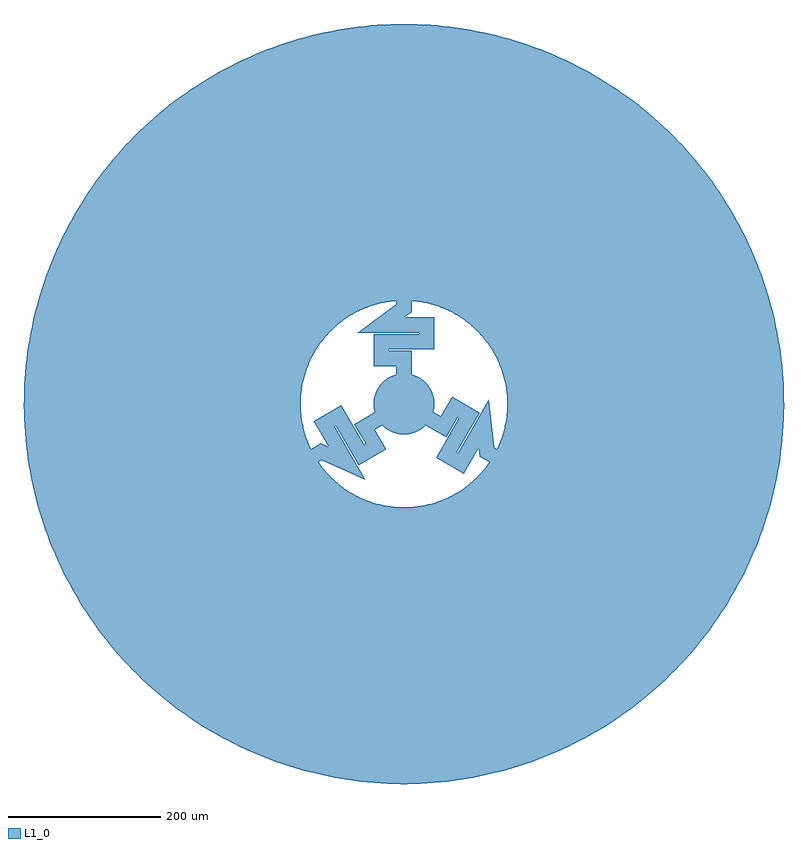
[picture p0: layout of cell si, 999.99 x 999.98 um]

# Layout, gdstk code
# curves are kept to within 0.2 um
import gdstk
lib = gdstk.Library(unit=1e-6, precision=1e-09)
def P(c, l, *ps):  # polygons
    for p in ps: c.add(gdstk.Polygon(p, *l))
L1_0 = (1, 0)

c_si = lib.new_cell('si')
P(c_si, L1_0, [(-0.35,-39.998),(-7.997,-39.193),(-12.061,-38.138),(-15.992,-36.664),(-22.712,-32.927),(-28.592,-27.973),(-33.416,-21.986),(-37.005,-15.186),(-39.227,-7.825),(-39.831,-3.67),(-39.997,0.525),(-39.157,8.168),(-38.085,12.227),(-36.594,16.152),(-32.827,22.855),(-27.848,28.714),(-24.685,31.475),(-21.25,33.889),(-14.373,37.329),(-6.965,39.389),(0.7,39.994),(4.888,39.7),(9.023,38.969),(16.312,36.523),(22.999,32.727),(28.836,27.722),(33.607,21.693),(37.137,14.862),(39.294,7.481),(40,-0.175),(39.227,-7.825),(38.191,-11.894),(36.734,-15.831),(33.026,-22.567),(28.098,-28.469),(22.132,-33.319),(15.348,-36.938),(7.997,-39.193),(3.844,-39.815)],
  [(-4.375,-499.981),(-30.609,-499.062),(-56.759,-496.768),(-82.752,-493.105),(-99.958,-489.907),(-125.531,-483.985),(-150.759,-476.73),(-175.57,-468.161),(-199.898,-458.302),(-215.815,-451.025),(-239.188,-439.078),(-261.902,-425.92),(-283.894,-411.588),(-305.103,-396.121),(-325.472,-379.563),(-344.944,-361.959),(-357.4,-349.665),(-375.258,-330.426),(-392.082,-310.277),(-407.826,-289.272),(-417.699,-274.822),(-431.547,-252.522),(-440.12,-237.265),(-451.965,-213.839),(-462.565,-189.825),(-471.89,-165.287),(-479.914,-140.294),(-486.616,-114.914),(-491.976,-89.217),(-494.797,-71.945),(-497.891,-45.878),(-499.612,-19.685),(-499.957,6.563),(-499.421,24.056),(-498.273,41.519),(-495.408,67.612),(-492.738,84.908),(-489.464,102.1),(-485.591,119.168),(-481.148,136),(0,136),(-7.137,135.813),(-16.62,134.981),(-23.681,133.922),(-32.991,131.938),(-39.87,130.025),(-48.868,126.917),(-55.461,124.178),(-64.012,119.994),(-70.221,116.469),(-78.196,111.272),(-83.928,107.015),(-91.208,100.882),(-96.377,95.956),(-102.853,88.979),(-107.381,83.459),(-112.956,75.743),(-116.775,69.711),(-121.365,61.371),(-124.419,54.917),(-127.956,46.08),(-130.866,37.016),(-132.628,30.097),(-134.025,23.095),(-135.312,13.663),(-135.843,6.543),(-135.967,-2.975),(-135.624,-10.107),(-134.585,-19.569),(-133.372,-26.605),(-131.185,-35.87),(-128.354,-44.958),(-125.818,-51.632),(-122.935,-58.164),(-118.565,-66.621),(-114.905,-72.752),(-109.535,-80.611),(-105.153,-86.249),(-98.862,-93.393),(-93.825,-98.453),(-86.708,-104.775),(-81.09,-109.181),(-73.254,-114.586),(-65.059,-119.429),(-58.702,-122.679),(-49.976,-126.485),(-43.269,-128.933),(-34.144,-131.644),(-27.189,-133.255),(-20.158,-134.498),(-10.7,-135.578),(-1.19,-135.995),(5.949,-135.87),(15.438,-135.121),(22.508,-134.124),(29.516,-132.758),(38.731,-130.368),(47.755,-127.34),(54.372,-124.658),(60.84,-121.633),(69.199,-117.079),(77.219,-111.952),(82.988,-107.745),(90.322,-101.676),(95.533,-96.796),(102.07,-89.876),(106.646,-84.395),(112.289,-76.729),(116.161,-70.73),(119.713,-64.536),(123.934,-56.004),(127.548,-47.198),(129.849,-40.439),(131.792,-33.568),(133.817,-24.267),(134.907,-17.211),(135.78,-7.732),(135.999,-0.595),(135.707,8.92),(134.751,18.39),(133.6,25.437),(131.493,34.72),(128.743,43.833),(126.265,50.529),(122.421,59.238),(119.143,65.581),(114.264,73.755),(110.236,79.65),(104.394,87.166),(98.041,94.255),(92.96,99.27),(87.622,104.012),(80.131,109.886),(74.254,113.94),(66.102,118.855),(59.773,122.161),(51.081,126.042),(39.87,130.025),(28.354,133.012),(16.62,134.981),(2.38,135.979),(-481.148,136),(-476.066,152.843),(-470.426,169.41),(-464.209,185.77),(-453.819,209.876),(-446.196,225.63),(-438.027,241.107),(-429.321,256.289),(-415.278,278.467),(-405.279,292.83),(-389.352,313.696),(-378.135,327.13),(-360.446,346.524),(-348.098,358.926),(-328.781,376.7),(-315.396,387.976),(-301.625,398.776),(-287.485,409.087),(-272.992,418.898),(-250.631,432.648),(-235.337,441.154),(-211.86,452.897),(-195.88,460.034),(-179.66,466.607),(-163.221,472.609),(-146.581,478.031),(-129.762,482.868),(-112.783,487.114),(-87.063,492.362),(-69.779,495.107),(-43.699,498.087),(-17.498,499.694),(0,500),(17.498,499.694),(43.699,498.087),(69.779,495.107),(95.667,490.763),(121.291,485.065),(146.581,478.031),(171.467,469.68),(195.88,460.034),(211.86,452.897),(235.337,441.154),(258.165,428.195),(280.281,414.056),(294.6,403.994),(315.396,387.976),(335.323,370.888),(354.326,352.779),(372.352,333.697),(389.352,313.696),(405.279,292.83),(415.278,278.467),(429.321,256.289),(442.179,233.404),(453.819,209.876),(464.209,185.77),(473.318,161.151),(481.124,136.089),(487.603,110.651),(491.176,93.519),(495.408,67.612),(498.273,41.519),(499.421,24.056),(499.995,-2.188),(499.191,-28.425),(497.012,-54.584),(494.797,-71.945),(490.339,-97.813),(486.616,-114.914),(479.914,-140.294),(471.89,-165.287),(462.565,-189.825),(451.965,-213.839),(440.12,-237.265),(427.061,-260.036),(412.826,-282.09),(402.701,-296.365),(386.592,-317.091),(369.418,-336.943),(351.225,-355.866),(332.065,-373.809),(311.989,-390.721),(291.054,-406.556),(269.316,-421.271),(254.408,-430.438),(231.467,-443.196),(207.888,-454.733),(183.737,-465.017),(159.079,-474.019),(142.392,-479.296),(117.042,-486.108),(91.369,-491.581),(65.444,-495.699),(39.339,-498.45),(13.125,-499.828)])
c_si.add(gdstk.FlexPath([(0,0),(0,60),(-30,60),(-30,82),(30,82),(30,104),(-30,104),(-30,104),(0,126),(0,136)], 20, ends="flush", simple_path=True, layer=1, datatype=0))  # L1_0
c_si.add(gdstk.FlexPath([(0,0),(-51.962,-30),(-36.962,-55.981),(-56.014,-66.981),(-86.014,-15.019),(-105.067,-26.019),(-75.067,-77.981),(-75.067,-77.981),(-109.119,-63),(-117.779,-68)], 20, ends="flush", simple_path=True, layer=1, datatype=0))  # L1_0
c_si.add(gdstk.FlexPath([(0,0),(51.962,-30),(66.962,-4.019),(86.014,-15.019),(56.014,-66.981),(75.067,-77.981),(105.067,-26.019),(105.067,-26.019),(109.119,-63),(117.779,-68)], 20, ends="flush", simple_path=True, layer=1, datatype=0))  # L1_0

lib.write_gds('si.gds')
